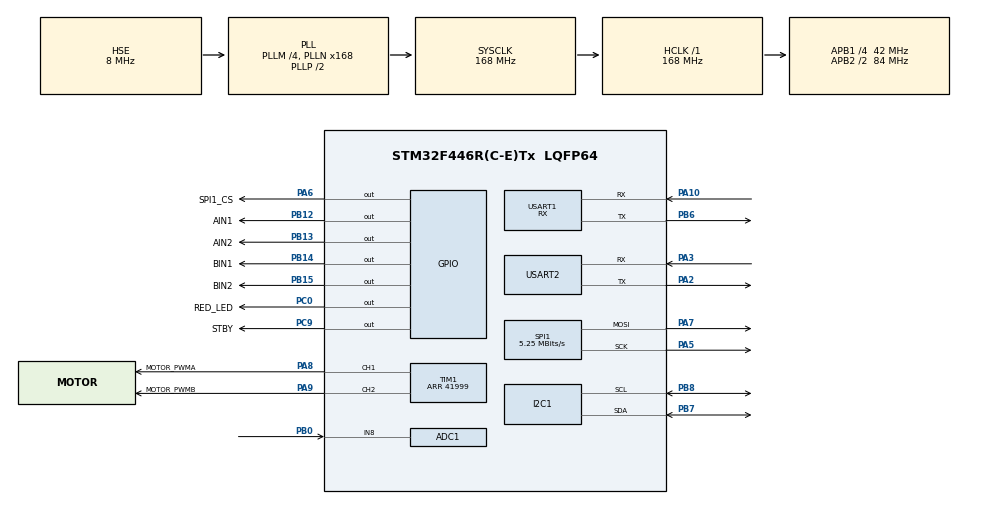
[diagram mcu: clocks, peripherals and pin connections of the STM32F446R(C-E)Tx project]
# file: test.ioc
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ADC1.Channel-1\#ChannelRegularConversion=ADC_CHANNEL_8
ADC1.ClockPrescaler=ADC_CLOCK_SYNC_PCLK_DIV8
ADC1.ContinuousConvMode=ENABLE
ADC1.DMAContinuousRequests=ENABLE
ADC1.NbrOfConversionFlag=1
ADC1.Rank-1\#ChannelRegularConversion=1
ADC1.SamplingTime-1\#ChannelRegularConversion=ADC_SAMPLETIME_480CYCLES
ADC1.master=1
Dma.ADC1.0.Direction=DMA_PERIPH_TO_MEMORY
Dma.ADC1.0.FIFOMode=DMA_FIFOMODE_DISABLE
Dma.ADC1.0.Instance=DMA2_Stream0
Dma.ADC1.0.MemDataAlignment=DMA_MDATAALIGN_HALFWORD
Dma.ADC1.0.MemInc=DMA_MINC_DISABLE
Dma.ADC1.0.Mode=DMA_CIRCULAR
Dma.ADC1.0.PeriphDataAlignment=DMA_PDATAALIGN_HALFWORD
Dma.ADC1.0.PeriphInc=DMA_PINC_DISABLE
Dma.ADC1.0.Priority=DMA_PRIORITY_MEDIUM
Dma.Request0=ADC1
FREERTOS.Queues01=iBusRxQueue,3,32,1,Dynamic,NULL,NULL
FREERTOS.Tasks01=ControlTask,40,128,StartControlTask,Default,NULL,Dynamic,NULL,NULL;ReceiverTask,32,128,StartReceiverTask,Default,NULL,Dynamic,NULL,NULL;OverturnTask,24,128,StartOverturnTask,Default,NULL,Dynamic,NULL,NULL;DisplayTask,8,128,StartDisplayTask,Default,NULL,Dynamic,NULL,NULL
FREERTOS.configUSE_NEWLIB_REENTRANT=1
I2C1.I2C_Mode=I2C_Standard
Mcu.Family=STM32F4
Mcu.Name=STM32F446R(C-E)Tx
Mcu.Package=LQFP64
NVIC.DMA2_Stream0_IRQn=true\:5\:0\:false\:false\:true\:true\:false\:true\:true
NVIC.PriorityGroup=NVIC_PRIORITYGROUP_4
NVIC.TIM6_DAC_IRQn=true\:15\:0\:false\:false\:true\:false\:false\:true\:true
NVIC.TimeBase=TIM6_DAC_IRQn
NVIC.TimeBaseIP=TIM6
NVIC.USART1_IRQn=true\:5\:0\:false\:false\:true\:true\:true\:true\:true
NVIC.USART2_IRQn=true\:5\:0\:false\:false\:true\:true\:true\:true\:true
PA10.Mode=Asynchronous
PA10.Signal=USART1_RX
PA2.Mode=Asynchronous
PA2.Signal=USART2_TX
PA3.Mode=Asynchronous
PA3.Signal=USART2_RX
PA5.Mode=TX_Only_Simplex_Unidirect_Master
PA5.Signal=SPI1_SCK
PA6.GPIO_Label=SPI1_CS
PA6.Signal=GPIO_Output
PA7.Mode=TX_Only_Simplex_Unidirect_Master
PA7.Signal=SPI1_MOSI
PA8.GPIO_Label=MOTOR_PWMA
PA8.Signal=S_TIM1_CH1
PA9.GPIO_Label=MOTOR_PWMB
PA9.Signal=S_TIM1_CH2
PB0.Signal=ADCx_IN8
PB12.GPIO_Label=AIN1
PB12.Signal=GPIO_Output
PB13.GPIO_Label=AIN2
PB13.Signal=GPIO_Output
PB14.GPIO_Label=BIN1
PB14.Signal=GPIO_Output
PB15.GPIO_Label=BIN2
PB15.Signal=GPIO_Output
PB6.Mode=Asynchronous
PB6.Signal=USART1_TX
PB7.Mode=I2C
PB7.Signal=I2C1_SDA
PB8.Mode=I2C
PB8.Signal=I2C1_SCL
PC0.GPIO_Label=RED_LED
PC0.Signal=GPIO_Output
PC9.GPIO_Label=STBY
PC9.Signal=GPIO_Output
PH0-OSC_IN.Mode=HSE-External-Oscillator
PH0-OSC_IN.Signal=RCC_OSC_IN
PH1-OSC_OUT.Mode=HSE-External-Oscillator
PH1-OSC_OUT.Signal=RCC_OSC_OUT
ProjectManager.HeapSize=0x200
ProjectManager.StackSize=0x400
ProjectManager.TargetToolchain=STM32CubeIDE
RCC.AHBFreq_Value=168000000
RCC.APB1CLKDivider=RCC_HCLK_DIV4
RCC.APB1Freq_Value=42000000
RCC.APB1TimFreq_Value=84000000
RCC.APB2CLKDivider=RCC_HCLK_DIV2
RCC.APB2Freq_Value=84000000
RCC.APB2TimFreq_Value=168000000
RCC.CortexFreq_Value=168000000
RCC.HCLKFreq_Value=168000000
RCC.HSE_VALUE=8000000
RCC.PLLM=4
RCC.PLLN=168
RCC.PLLSourceVirtual=RCC_PLLSOURCE_HSE
RCC.SYSCLKFreq_VALUE=168000000
RCC.SYSCLKSource=RCC_SYSCLKSOURCE_PLLCLK
RCC.USBFreq_Value=168000000
RCC.VCOOutputFreq_Value=336000000
SH.ADCx_IN8.0=ADC1_IN8,IN8
SH.S_TIM1_CH1.0=TIM1_CH1,PWM Generation1 CH1
SH.S_TIM1_CH2.0=TIM1_CH2,PWM Generation2 CH2
SPI1.BaudRatePrescaler=SPI_BAUDRATEPRESCALER_16
SPI1.CalculateBaudRate=5.25 MBits/s
SPI1.Direction=SPI_DIRECTION_2LINES
SPI1.Mode=SPI_MODE_MASTER
SPI1.VirtualType=VM_MASTER
TIM1.Channel-PWM\ Generation1\ CH1=TIM_CHANNEL_1
TIM1.Channel-PWM\ Generation2\ CH2=TIM_CHANNEL_2
TIM1.OCFastMode_PWM-PWM\ Generation1\ CH1=TIM_OCFAST_DISABLE
TIM1.Period=41999
TIM1.Pulse-PWM\ Generation1\ CH1=0
TIM1.Pulse-PWM\ Generation2\ CH2=0
USART1.Mode=MODE_RX
USART1.VirtualMode=VM_ASYNC
USART2.VirtualMode=VM_ASYNC
VP_FREERTOS_VS_CMSIS_V2.Mode=CMSIS_V2
VP_SYS_VS_tim6.Mode=TIM6
VP_TIM1_VS_ClockSourceINT.Mode=Internal
board=custom

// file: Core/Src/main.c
/* USER CODE BEGIN Header */
/**
  ******************************************************************************
  * @file           : main.c
  * @brief          : Main program body
  ******************************************************************************
  * @attention
  *
  * Copyright (c) 2026 STMicroelectronics.
  * All rights reserved.
  *
  * This software is licensed under terms that can be found in the LICENSE file
  * in the root directory of this software component.
  * If no LICENSE file comes with this software, it is provided AS-IS.
  *
  ******************************************************************************
  */
/* USER CODE END Header */
#include "main.h"
#include "cmsis_os.h"

/* USER CODE BEGIN Includes */
#include <stdio.h>
#include <math.h>
#include <string.h>
#include "FS-iA6B.h"
#include "MPU6050.h"
#include "max7219.h"
#include "stm32f4xx_it.h"
/* USER CODE END Includes */

ADC_HandleTypeDef hadc1;
DMA_HandleTypeDef hdma_adc1;

I2C_HandleTypeDef hi2c1;

SPI_HandleTypeDef hspi1;

/* Definitions for ControlTask */
osThreadId_t ControlTaskHandle;
const osThreadAttr_t ControlTask_attributes = {
  .name = "ControlTask",
  .stack_size = 128 * 4,
  .priority = (osPriority_t) osPriorityHigh,
};
/* Definitions for ReceiverTask */
osThreadId_t ReceiverTaskHandle;
const osThreadAttr_t ReceiverTask_attributes = {
  .name = "ReceiverTask",
  .stack_size = 128 * 4,
  .priority = (osPriority_t) osPriorityAboveNormal,
};
/* Definitions for OverturnTask */
osThreadId_t OverturnTaskHandle;
const osThreadAttr_t OverturnTask_attributes = {
  .name = "OverturnTask",
  .stack_size = 128 * 4,
  .priority = (osPriority_t) osPriorityNormal,
};
/* Definitions for DisplayTask */
osThreadId_t DisplayTaskHandle;
const osThreadAttr_t DisplayTask_attributes = {
  .name = "DisplayTask",
  .stack_size = 128 * 4,
  .priority = (osPriority_t) osPriorityLow,
};
/* Definitions for iBusRxQueue */
osMessageQueueId_t iBusRxQueueHandle;
const osMessageQueueAttr_t iBusRxQueue_attributes = {
  .name = "iBusRxQueue"
};
/* USER CODE BEGIN PV */
// 조종기 통신 타임아웃 타이머
uint32_t last_ibus_rx_tick = 0;
// 조종기 통신 fail-safe flag
unsigned char sigfail_flag = 1;
// 자동차 전복 flag
unsigned char overturn_flag = 0;
// 일정 주기마다 자이로 센서값을 읽어서 전복되어 있으면 증가
uint8_t overturn_cnt = 0;
// 배터리 전압을 읽는 adc 값
uint32_t adcVal;
/* USER CODE END PV */

void SystemClock_Config(void);
static void MX_GPIO_Init(void);
static void MX_DMA_Init(void);
static void MX_USART1_UART_Init(void);
static void MX_USART2_UART_Init(void);
static void MX_TIM1_Init(void);
static void MX_I2C1_Init(void);
static void MX_ADC1_Init(void);
static void MX_SPI1_Init(void);
void StartControlTask(void *argument);
void StartReceiverTask(void *argument);
void StartOverturnTask(void *argument);
void StartDisplayTask(void *argument);

/* USER CODE BEGIN PFP */
// 조종기 신호에 따라 모터 제어하는 함수
void Motor_Control(unsigned short left_speed, unsigned short right_speed);
void Check_failflag(void);
void Check_sigrx_cplt(uint8_t *rxFrame);
void Check_if_overturn(void);
/* USER CODE END PFP */

int main(void)
{

  /* MCU Configuration--------------------------------------------------------*/

  /* Reset of all peripherals, Initializes the Flash interface and the Systick. */
  HAL_Init();

  /* Configure the system clock */
  SystemClock_Config();

  /* Initialize all configured peripherals */
  MX_GPIO_Init();
  MX_DMA_Init();
  MX_USART1_UART_Init();
  MX_USART2_UART_Init();
  MX_TIM1_Init();
  MX_I2C1_Init();
  MX_ADC1_Init();
  MX_SPI1_Init();
  /* USER CODE BEGIN 2 */
  LL_USART_EnableIT_RXNE(USART2);

  LL_TIM_EnableCounter(TIM1);
  LL_TIM_CC_EnableChannel(TIM1, LL_TIM_CHANNEL_CH1);
  LL_TIM_CC_EnableChannel(TIM1, LL_TIM_CHANNEL_CH2);

  LL_TIM_EnableAllOutputs(TIM1);

  LL_GPIO_SetOutputPin(GPIOC, STBY_Pin);

  HAL_Delay(1000);

  // MPU6050(자이로 센서) 초기화
  MPU6050_Init();
  // MAX7219(배터리 충전 상태 디스플레이) 초기화
  max7219_init();

  HAL_ADC_Start_DMA(&hadc1, &adcVal, 1);

  /* USER CODE END 2 */

  /* Init scheduler */
  osKernelInitialize();

  /* Create the queue(s) */
  /* creation of iBusRxQueue */
  iBusRxQueueHandle = osMessageQueueNew (3, 32, &iBusRxQueue_attributes);

  /* Create the thread(s) */
  /* creation of ControlTask */
  ControlTaskHandle = osThreadNew(StartControlTask, NULL, &ControlTask_attributes);

  /* creation of ReceiverTask */
  ReceiverTaskHandle = osThreadNew(StartReceiverTask, NULL, &ReceiverTask_attributes);

  /* creation of OverturnTask */
  OverturnTaskHandle = osThreadNew(StartOverturnTask, NULL, &OverturnTask_attributes);

  /* creation of DisplayTask */
  DisplayTaskHandle = osThreadNew(StartDisplayTask, NULL, &DisplayTask_attributes);

  /* Start scheduler */
  osKernelStart();

  /* We should never get here as control is now taken by the scheduler */

  /* Infinite loop */
  while (1)
  {

  }
}

void SystemClock_Config(void)
{
  RCC_OscInitTypeDef RCC_OscInitStruct = {0};
  RCC_ClkInitTypeDef RCC_ClkInitStruct = {0};

  /** Configure the main internal regulator output voltage
  */
  __HAL_RCC_PWR_CLK_ENABLE();
  __HAL_PWR_VOLTAGESCALING_CONFIG(PWR_REGULATOR_VOLTAGE_SCALE1);

  /** Initializes the RCC Oscillators according to the specified parameters
  * in the RCC_OscInitTypeDef structure.
  */
  RCC_OscInitStruct.OscillatorType = RCC_OSCILLATORTYPE_HSE;
  RCC_OscInitStruct.HSEState = RCC_HSE_ON;
  RCC_OscInitStruct.PLL.PLLState = RCC_PLL_ON;
  RCC_OscInitStruct.PLL.PLLSource = RCC_PLLSOURCE_HSE;
  RCC_OscInitStruct.PLL.PLLM = 4;
  RCC_OscInitStruct.PLL.PLLN = 168;
  RCC_OscInitStruct.PLL.PLLP = RCC_PLLP_DIV2;
  RCC_OscInitStruct.PLL.PLLQ = 2;
  RCC_OscInitStruct.PLL.PLLR = 2;
  if (HAL_RCC_OscConfig(&RCC_OscInitStruct) != HAL_OK)
  {
    Error_Handler();
  }

  /** Initializes the CPU, AHB and APB buses clocks
  */
  RCC_ClkInitStruct.ClockType = RCC_CLOCKTYPE_HCLK|RCC_CLOCKTYPE_SYSCLK
                              |RCC_CLOCKTYPE_PCLK1|RCC_CLOCKTYPE_PCLK2;
  RCC_ClkInitStruct.SYSCLKSource = RCC_SYSCLKSOURCE_PLLCLK;
  RCC_ClkInitStruct.AHBCLKDivider = RCC_SYSCLK_DIV1;
  RCC_ClkInitStruct.APB1CLKDivider = RCC_HCLK_DIV4;
  RCC_ClkInitStruct.APB2CLKDivider = RCC_HCLK_DIV2;

  if (HAL_RCC_ClockConfig(&RCC_ClkInitStruct, FLASH_LATENCY_5) != HAL_OK)
  {
    Error_Handler();
  }
}

static void MX_ADC1_Init(void)
{

  ADC_ChannelConfTypeDef sConfig = {0};

  /** Configure the global features of the ADC (Clock, Resolution, Data Alignment and number of conversion)
  */
  hadc1.Instance = ADC1;
  hadc1.Init.ClockPrescaler = ADC_CLOCK_SYNC_PCLK_DIV8;
  hadc1.Init.Resolution = ADC_RESOLUTION_12B;
  hadc1.Init.ScanConvMode = DISABLE;
  hadc1.Init.ContinuousConvMode = ENABLE;
  hadc1.Init.DiscontinuousConvMode = DISABLE;
  hadc1.Init.ExternalTrigConvEdge = ADC_EXTERNALTRIGCONVEDGE_NONE;
  hadc1.Init.ExternalTrigConv = ADC_SOFTWARE_START;
  hadc1.Init.DataAlign = ADC_DATAALIGN_RIGHT;
  hadc1.Init.NbrOfConversion = 1;
  hadc1.Init.DMAContinuousRequests = ENABLE;
  hadc1.Init.EOCSelection = ADC_EOC_SINGLE_CONV;
  if (HAL_ADC_Init(&hadc1) != HAL_OK)
  {
    Error_Handler();
  }

  /** Configure for the selected ADC regular channel its corresponding rank in the sequencer and its sample time.
  */
  sConfig.Channel = ADC_CHANNEL_8;
  sConfig.Rank = 1;
  sConfig.SamplingTime = ADC_SAMPLETIME_480CYCLES;
  if (HAL_ADC_ConfigChannel(&hadc1, &sConfig) != HAL_OK)
  {
    Error_Handler();
  }

}

static void MX_I2C1_Init(void)
{

  hi2c1.Instance = I2C1;
  hi2c1.Init.ClockSpeed = 100000;
  hi2c1.Init.DutyCycle = I2C_DUTYCYCLE_2;
  hi2c1.Init.OwnAddress1 = 0;
  hi2c1.Init.AddressingMode = I2C_ADDRESSINGMODE_7BIT;
  hi2c1.Init.DualAddressMode = I2C_DUALADDRESS_DISABLE;
  hi2c1.Init.OwnAddress2 = 0;
  hi2c1.Init.GeneralCallMode = I2C_GENERALCALL_DISABLE;
  hi2c1.Init.NoStretchMode = I2C_NOSTRETCH_DISABLE;
  if (HAL_I2C_Init(&hi2c1) != HAL_OK)
  {
    Error_Handler();
  }

}

static void MX_SPI1_Init(void)
{

  /* SPI1 parameter configuration*/
  hspi1.Instance = SPI1;
  hspi1.Init.Mode = SPI_MODE_MASTER;
  hspi1.Init.Direction = SPI_DIRECTION_2LINES;
  hspi1.Init.DataSize = SPI_DATASIZE_8BIT;
  hspi1.Init.CLKPolarity = SPI_POLARITY_LOW;
  hspi1.Init.CLKPhase = SPI_PHASE_1EDGE;
  hspi1.Init.NSS = SPI_NSS_SOFT;
  hspi1.Init.BaudRatePrescaler = SPI_BAUDRATEPRESCALER_16;
  hspi1.Init.FirstBit = SPI_FIRSTBIT_MSB;
  hspi1.Init.TIMode = SPI_TIMODE_DISABLE;
  hspi1.Init.CRCCalculation = SPI_CRCCALCULATION_DISABLE;
  hspi1.Init.CRCPolynomial = 10;
  if (HAL_SPI_Init(&hspi1) != HAL_OK)
  {
    Error_Handler();
  }

}

static void MX_TIM1_Init(void)
{

  LL_TIM_InitTypeDef TIM_InitStruct = {0};
  LL_TIM_OC_InitTypeDef TIM_OC_InitStruct = {0};
  LL_TIM_BDTR_InitTypeDef TIM_BDTRInitStruct = {0};

  LL_GPIO_InitTypeDef GPIO_InitStruct = {0};

  /* Peripheral clock enable */
  LL_APB2_GRP1_EnableClock(LL_APB2_GRP1_PERIPH_TIM1);

  TIM_InitStruct.Prescaler = 0;
  TIM_InitStruct.CounterMode = LL_TIM_COUNTERMODE_UP;
  TIM_InitStruct.Autoreload = 41999;
  TIM_InitStruct.ClockDivision = LL_TIM_CLOCKDIVISION_DIV1;
  TIM_InitStruct.RepetitionCounter = 0;
  LL_TIM_Init(TIM1, &TIM_InitStruct);
  LL_TIM_DisableARRPreload(TIM1);
  LL_TIM_SetClockSource(TIM1, LL_TIM_CLOCKSOURCE_INTERNAL);
  LL_TIM_OC_EnablePreload(TIM1, LL_TIM_CHANNEL_CH1);
  TIM_OC_InitStruct.OCMode = LL_TIM_OCMODE_PWM1;
  TIM_OC_InitStruct.OCState = LL_TIM_OCSTATE_DISABLE;
  TIM_OC_InitStruct.OCNState = LL_TIM_OCSTATE_DISABLE;
  TIM_OC_InitStruct.CompareValue = 0;
  TIM_OC_InitStruct.OCPolarity = LL_TIM_OCPOLARITY_HIGH;
  TIM_OC_InitStruct.OCNPolarity = LL_TIM_OCPOLARITY_HIGH;
  TIM_OC_InitStruct.OCIdleState = LL_TIM_OCIDLESTATE_LOW;
  TIM_OC_InitStruct.OCNIdleState = LL_TIM_OCIDLESTATE_LOW;
  LL_TIM_OC_Init(TIM1, LL_TIM_CHANNEL_CH1, &TIM_OC_InitStruct);
  LL_TIM_OC_DisableFast(TIM1, LL_TIM_CHANNEL_CH1);
  LL_TIM_OC_EnablePreload(TIM1, LL_TIM_CHANNEL_CH2);
  LL_TIM_OC_Init(TIM1, LL_TIM_CHANNEL_CH2, &TIM_OC_InitStruct);
  LL_TIM_OC_DisableFast(TIM1, LL_TIM_CHANNEL_CH2);
  LL_TIM_SetTriggerOutput(TIM1, LL_TIM_TRGO_RESET);
  LL_TIM_DisableMasterSlaveMode(TIM1);
  TIM_BDTRInitStruct.OSSRState = LL_TIM_OSSR_DISABLE;
  TIM_BDTRInitStruct.OSSIState = LL_TIM_OSSI_DISABLE;
  TIM_BDTRInitStruct.LockLevel = LL_TIM_LOCKLEVEL_OFF;
  TIM_BDTRInitStruct.DeadTime = 0;
  TIM_BDTRInitStruct.BreakState = LL_TIM_BREAK_DISABLE;
  TIM_BDTRInitStruct.BreakPolarity = LL_TIM_BREAK_POLARITY_HIGH;
  TIM_BDTRInitStruct.AutomaticOutput = LL_TIM_AUTOMATICOUTPUT_DISABLE;
  LL_TIM_BDTR_Init(TIM1, &TIM_BDTRInitStruct);
  LL_AHB1_GRP1_EnableClock(LL_AHB1_GRP1_PERIPH_GPIOA);
  /**TIM1 GPIO Configuration
  PA8   ------> TIM1_CH1
  PA9   ------> TIM1_CH2
  */
  GPIO_InitStruct.Pin = LL_GPIO_PIN_8|LL_GPIO_PIN_9;
  GPIO_InitStruct.Mode = LL_GPIO_MODE_ALTERNATE;
  GPIO_InitStruct.Speed = LL_GPIO_SPEED_FREQ_LOW;
  GPIO_InitStruct.OutputType = LL_GPIO_OUTPUT_PUSHPULL;
  GPIO_InitStruct.Pull = LL_GPIO_PULL_NO;
  GPIO_InitStruct.Alternate = LL_GPIO_AF_1;
  LL_GPIO_Init(GPIOA, &GPIO_InitStruct);

}

static void MX_USART1_UART_Init(void)
{

  LL_USART_InitTypeDef USART_InitStruct = {0};

  LL_GPIO_InitTypeDef GPIO_InitStruct = {0};

  /* Peripheral clock enable */
  LL_APB2_GRP1_EnableClock(LL_APB2_GRP1_PERIPH_USART1);

  LL_AHB1_GRP1_EnableClock(LL_AHB1_GRP1_PERIPH_GPIOA);
  LL_AHB1_GRP1_EnableClock(LL_AHB1_GRP1_PERIPH_GPIOB);
  /**USART1 GPIO Configuration
  PA10   ------> USART1_RX
  PB6   ------> USART1_TX
  */
  GPIO_InitStruct.Pin = LL_GPIO_PIN_10;
  GPIO_InitStruct.Mode = LL_GPIO_MODE_ALTERNATE;
  GPIO_InitStruct.Speed = LL_GPIO_SPEED_FREQ_VERY_HIGH;
  GPIO_InitStruct.OutputType = LL_GPIO_OUTPUT_PUSHPULL;
  GPIO_InitStruct.Pull = LL_GPIO_PULL_NO;
  GPIO_InitStruct.Alternate = LL_GPIO_AF_7;
  LL_GPIO_Init(GPIOA, &GPIO_InitStruct);

  GPIO_InitStruct.Pin = LL_GPIO_PIN_6;
  GPIO_InitStruct.Mode = LL_GPIO_MODE_ALTERNATE;
  GPIO_InitStruct.Speed = LL_GPIO_SPEED_FREQ_VERY_HIGH;
  GPIO_InitStruct.OutputType = LL_GPIO_OUTPUT_PUSHPULL;
  GPIO_InitStruct.Pull = LL_GPIO_PULL_NO;
  GPIO_InitStruct.Alternate = LL_GPIO_AF_7;
  LL_GPIO_Init(GPIOB, &GPIO_InitStruct);

  /* USART1 interrupt Init */
  NVIC_SetPriority(USART1_IRQn, NVIC_EncodePriority(NVIC_GetPriorityGrouping(),5, 0));
  NVIC_EnableIRQ(USART1_IRQn);

  USART_InitStruct.BaudRate = 115200;
  USART_InitStruct.DataWidth = LL_USART_DATAWIDTH_8B;
  USART_InitStruct.StopBits = LL_USART_STOPBITS_1;
  USART_InitStruct.Parity = LL_USART_PARITY_NONE;
  USART_InitStruct.TransferDirection = LL_USART_DIRECTION_RX;
  USART_InitStruct.HardwareFlowControl = LL_USART_HWCONTROL_NONE;
  USART_InitStruct.OverSampling = LL_USART_OVERSAMPLING_16;
  LL_USART_Init(USART1, &USART_InitStruct);
  LL_USART_ConfigAsyncMode(USART1);
  LL_USART_Enable(USART1);

}

static void MX_USART2_UART_Init(void)
{

  LL_USART_InitTypeDef USART_InitStruct = {0};

  LL_GPIO_InitTypeDef GPIO_InitStruct = {0};

  /* Peripheral clock enable */
  LL_APB1_GRP1_EnableClock(LL_APB1_GRP1_PERIPH_USART2);

  LL_AHB1_GRP1_EnableClock(LL_AHB1_GRP1_PERIPH_GPIOA);
  /**USART2 GPIO Configuration
  PA2   ------> USART2_TX
  PA3   ------> USART2_RX
  */
  GPIO_InitStruct.Pin = LL_GPIO_PIN_2|LL_GPIO_PIN_3;
  GPIO_InitStruct.Mode = LL_GPIO_MODE_ALTERNATE;
  GPIO_InitStruct.Speed = LL_GPIO_SPEED_FREQ_VERY_HIGH;
  GPIO_InitStruct.OutputType = LL_GPIO_OUTPUT_PUSHPULL;
  GPIO_InitStruct.Pull = LL_GPIO_PULL_NO;
  GPIO_InitStruct.Alternate = LL_GPIO_AF_7;
  LL_GPIO_Init(GPIOA, &GPIO_InitStruct);

  /* USART2 interrupt Init */
  NVIC_SetPriority(USART2_IRQn, NVIC_EncodePriority(NVIC_GetPriorityGrouping(),5, 0));
  NVIC_EnableIRQ(USART2_IRQn);

  USART_InitStruct.BaudRate = 115200;
  USART_InitStruct.DataWidth = LL_USART_DATAWIDTH_8B;
  USART_InitStruct.StopBits = LL_USART_STOPBITS_1;
  USART_InitStruct.Parity = LL_USART_PARITY_NONE;
  USART_InitStruct.TransferDirection = LL_USART_DIRECTION_TX_RX;
  USART_InitStruct.HardwareFlowControl = LL_USART_HWCONTROL_NONE;
  USART_InitStruct.OverSampling = LL_USART_OVERSAMPLING_16;
  LL_USART_Init(USART2, &USART_InitStruct);
  LL_USART_ConfigAsyncMode(USART2);
  LL_USART_Enable(USART2);

}

static void MX_DMA_Init(void)
{

  /* DMA controller clock enable */
  __HAL_RCC_DMA2_CLK_ENABLE();

  /* DMA interrupt init */
  /* DMA2_Stream0_IRQn interrupt configuration */
  HAL_NVIC_SetPriority(DMA2_Stream0_IRQn, 5, 0);
  HAL_NVIC_EnableIRQ(DMA2_Stream0_IRQn);

}

static void MX_GPIO_Init(void)
{
  GPIO_InitTypeDef GPIO_InitStruct = {0};

  /* GPIO Ports Clock Enable */
  __HAL_RCC_GPIOH_CLK_ENABLE();
  __HAL_RCC_GPIOC_CLK_ENABLE();
  __HAL_RCC_GPIOA_CLK_ENABLE();
  __HAL_RCC_GPIOB_CLK_ENABLE();

  /*Configure GPIO pin Output Level */
  HAL_GPIO_WritePin(GPIOC, RED_LED_Pin|STBY_Pin, GPIO_PIN_RESET);

  /*Configure GPIO pin Output Level */
  HAL_GPIO_WritePin(SPI1_CS_GPIO_Port, SPI1_CS_Pin, GPIO_PIN_RESET);

  /*Configure GPIO pin Output Level */
  HAL_GPIO_WritePin(GPIOB, AIN1_Pin|AIN2_Pin|BIN1_Pin|BIN2_Pin, GPIO_PIN_RESET);

  /*Configure GPIO pins : RED_LED_Pin STBY_Pin */
  GPIO_InitStruct.Pin = RED_LED_Pin|STBY_Pin;
  GPIO_InitStruct.Mode = GPIO_MODE_OUTPUT_PP;
  GPIO_InitStruct.Pull = GPIO_NOPULL;
  GPIO_InitStruct.Speed = GPIO_SPEED_FREQ_LOW;
  HAL_GPIO_Init(GPIOC, &GPIO_InitStruct);

  /*Configure GPIO pin : SPI1_CS_Pin */
  GPIO_InitStruct.Pin = SPI1_CS_Pin;
  GPIO_InitStruct.Mode = GPIO_MODE_OUTPUT_PP;
  GPIO_InitStruct.Pull = GPIO_NOPULL;
  GPIO_InitStruct.Speed = GPIO_SPEED_FREQ_LOW;
  HAL_GPIO_Init(SPI1_CS_GPIO_Port, &GPIO_InitStruct);

  /*Configure GPIO pins : AIN1_Pin AIN2_Pin BIN1_Pin BIN2_Pin */
  GPIO_InitStruct.Pin = AIN1_Pin|AIN2_Pin|BIN1_Pin|BIN2_Pin;
  GPIO_InitStruct.Mode = GPIO_MODE_OUTPUT_PP;
  GPIO_InitStruct.Pull = GPIO_NOPULL;
  GPIO_InitStruct.Speed = GPIO_SPEED_FREQ_LOW;
  HAL_GPIO_Init(GPIOB, &GPIO_InitStruct);

}

/* USER CODE BEGIN 4 */

void Motor_Control(unsigned short go_back, unsigned short left_right) {

  // 조이스틱 조작 값을 쓰로틀과 조향값으로 변환
	int16_t throttle = go_back - 1500;
	int16_t steer = left_right - 1500;

	int16_t left_motor = throttle - steer;
	int16_t right_motor = throttle + steer;

	uint16_t left_speed, right_speed;

  // 좌측 모터 구동 방향 설정
	if(left_motor >= 0)
	{
		HAL_GPIO_WritePin(GPIOB, AIN1_Pin, GPIO_PIN_SET);
		HAL_GPIO_WritePin(GPIOB, AIN2_Pin, GPIO_PIN_RESET);
		left_speed = left_motor;
	}
	else
	{
		HAL_GPIO_WritePin(GPIOB, AIN1_Pin, GPIO_PIN_RESET);
		HAL_GPIO_WritePin(GPIOB, AIN2_Pin, GPIO_PIN_SET);
		left_speed = 0 - left_motor;
	}
  // 우측 모터 구동 방향 설정
	if(right_motor >= 0)
	{
		HAL_GPIO_WritePin(GPIOB, BIN1_Pin, GPIO_PIN_SET);
		HAL_GPIO_WritePin(GPIOB, BIN2_Pin, GPIO_PIN_RESET);
		right_speed = right_motor;
	}
	else
	{
		HAL_GPIO_WritePin(GPIOB, BIN1_Pin, GPIO_PIN_RESET);
		HAL_GPIO_WritePin(GPIOB, BIN2_Pin, GPIO_PIN_SET);
		right_speed = 0 - right_motor;
	}

	// 속도(PWM) 적용
	TIM1->CCR1 = left_speed * 41999 / 500;
	TIM1->CCR2 = right_speed * 41999 / 500;

}

void Check_failflag(void){

  unsigned short go_back;
  unsigned short left_right;

  if((sigfail_flag | overturn_flag) == 0)
  {
    taskENTER_CRITICAL();
    go_back = iBus.LV;
    left_right = iBus.LH;
    taskEXIT_CRITICAL();

    Motor_Control(go_back, left_right);
    HAL_GPIO_WritePin(GPIOC, RED_LED_Pin, GPIO_PIN_RESET);
  }
  else // 모터 정지, 적색 led 켜짐
  {
    TIM1->CCR1 = 0;
    TIM1->CCR2 = 0;
    HAL_GPIO_WritePin(GPIOC, RED_LED_Pin, GPIO_PIN_SET);
  }

}

void Check_sigrx_cplt(uint8_t *rxFrame){

  // 조종기 신호 32바이트의 체크섬 확인
  if(iBus_Check_CHKSUM(&rxFrame[0], 32) == 1)
  {
    FSiA6B_iBus parsed = {0};
    // 마지막 정상 프레임 수신 시각 기록
    last_ibus_rx_tick = HAL_GetTick();
    // 조종기 신호 32바이트를 파싱
    iBus_Parsing(rxFrame, &parsed);

    taskENTER_CRITICAL();
    iBus = parsed;
    taskEXIT_CRITICAL();

    // 조종 송신기 <-> 조종 수신기 간의 fail 정보 확인
    if(iBus_isActiveFailsafe(&iBus) == 1)
    {
      sigfail_flag = 1;
    }
    else
    {
      sigfail_flag = 0;
    }
  }

}

void Check_if_overturn(void){

  // 자이로 센서로부터 가속도 값을 읽음
  MPU6050_Read_Accel();
  // z축 가속도 값이 음수면 전복되었다고 판단
  if(Az < 0)
  {
    // 전복되었다고 판단한 횟수가 4회 미만이면 전복 횟수 증가
    if(overturn_cnt < 4)
    {
      overturn_cnt++;
    }
    // 전복되었다고 판단한 횟수가 4회 이상이면 전복 되었음을 확정하는 플래그 설정
    else
    {
      overturn_flag = 1;
      overturn_cnt = 0;
    }
  }
  else // 조이스틱을 좌/우로 조작하면 overturn_flag 초기화
  {
    overturn_cnt = 0;
    if(iBus.RH < 1400 || iBus.RH > 1600)
    {
      overturn_flag = 0;
    }
  }
}

/* USER CODE END 4 */

void StartControlTask(void *argument)
{
  /* USER CODE BEGIN 5 */
  TickType_t xLastWakeTime = xTaskGetTickCount();

  /* Infinite loop */
  for(;;)
  {
    vTaskDelayUntil(
      &xLastWakeTime,
      pdMS_TO_TICKS(10)
    );
    // 조종 송신기 <-> 조종 수신기 간의 타임아웃 확인
    iBus_Check_Timeout();

    // 전복되어 있지 않고, fail-safe 가 없으면 모터 제어
    Check_failflag();

  }
  /* USER CODE END 5 */
}

void StartReceiverTask(void *argument)
{
  /* USER CODE BEGIN StartReceiverTask */
  uint8_t rxFrame[32];
  LL_USART_EnableIT_RXNE(USART1);
  /* Infinite loop */
  for(;;)
  {
    if (osMessageQueueGet(iBusRxQueueHandle, rxFrame, NULL, osWaitForever) == osOK)
    {
      // 조종기 신호 32바이트를 수신했음을 확인
      Check_sigrx_cplt(rxFrame);
    }
  }
  /* USER CODE END StartReceiverTask */
}

void StartOverturnTask(void *argument)
{
  /* USER CODE BEGIN StartOverturnTask */
  TickType_t xLastWakeTime = xTaskGetTickCount();
  /* Infinite loop */
  for(;;)
  {
    vTaskDelayUntil(
      &xLastWakeTime,
      pdMS_TO_TICKS(100)
    );

    Check_if_overturn();
  }
  /* USER CODE END StartOverturnTask */
}

void StartDisplayTask(void *argument)
{
  /* USER CODE BEGIN StartDisplayTask */
  TickType_t xLastWakeTime = xTaskGetTickCount();
  // adc로부터 계산한 전압 값
  float batVolt;
  // 표시할 배터리 레벨
  uint8_t batLevel;

  /* Infinite loop */
  for(;;)
  {
    //200ms 제어 주기
    vTaskDelayUntil(&xLastWakeTime, pdMS_TO_TICKS(200));
    // 전압을 ADC로 읽음
    uint16_t tempVolt = adcVal & 0xFFF;
    // ADC로부터 전압을 계산
    batVolt = tempVolt * 0.002417f;
    // 전압을 배터리 레벨로 변환(완충 7.4V 기준)
    batLevel = batVolt/7.4/0.125 + 1;
    batLevel = batLevel > 8 ? 8 : batLevel;
    // 배터리 레벨을 디스플레이
    display_voltage_level(batLevel);
  }
  /* USER CODE END StartDisplayTask */
}

void HAL_TIM_PeriodElapsedCallback(TIM_HandleTypeDef *htim)
{
  if (htim->Instance == TIM6)
  {
    HAL_IncTick();
  }
}

void Error_Handler(void)
{
  __disable_irq();
  while (1)
  {
  }
}
